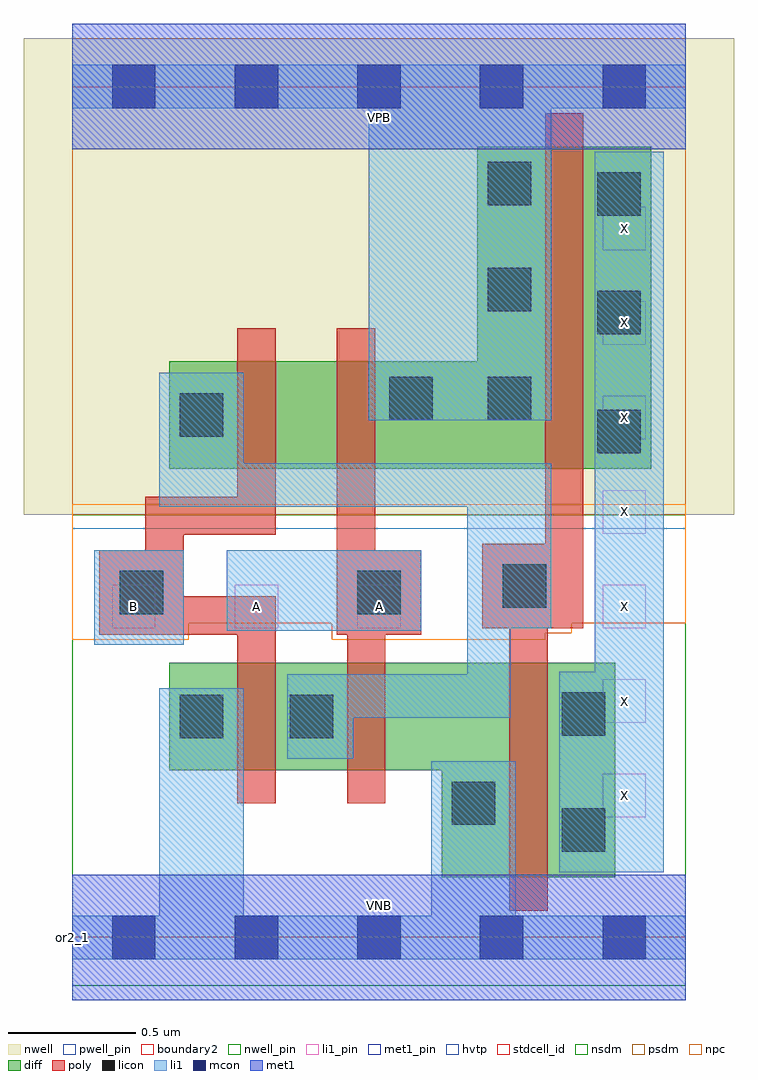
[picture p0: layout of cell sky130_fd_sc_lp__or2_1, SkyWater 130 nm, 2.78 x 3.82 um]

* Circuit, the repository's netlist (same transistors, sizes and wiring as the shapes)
* Copyright 2020 The SkyWater PDK Authors
*
* Licensed under the Apache License, Version 2.0 (the "License");
* you may not use this file except in compliance with the License.
* You may obtain a copy of the License at
*
*     https://www.apache.org/licenses/LICENSE-2.0
*
* Unless required by applicable law or agreed to in writing, software
* distributed under the License is distributed on an "AS IS" BASIS,
* WITHOUT WARRANTIES OR CONDITIONS OF ANY KIND, either express or implied.
* See the License for the specific language governing permissions and
* limitations under the License.
*
* SPDX-License-Identifier: Apache-2.0

.SUBCKT sky130_fd_sc_lp__or2_1 A B VGND VNB VPB VPWR X
*.PININFO A:I B:I VGND:I VNB:I VPB:I VPWR:I X:O
MMP0 VPWR A sndPA VPB sky130_fd_pr__pfet_01v8_hvt m=1 w=0.42U l=0.15U mult=1 sa=0.265
+ sb=0.265 sd=0.28 area=0.063 perim=1.14
MMP1 sndPA B y VPB sky130_fd_pr__pfet_01v8_hvt m=1 w=0.42U l=0.15U mult=1 sa=0.265
+ sb=0.265 sd=0.28 area=0.063 perim=1.14
MMIP2 X y VPWR VPB sky130_fd_pr__pfet_01v8_hvt m=1 w=1.26U l=0.15U mult=1 sa=0.265
+ sb=0.265 sd=0.28 area=0.063 perim=1.14
MMN0 y A VGND VNB sky130_fd_pr__nfet_01v8 m=1 w=0.42U l=0.15U mult=1 sa=0.265 sb=0.265
+ sd=0.28 area=0.063 perim=1.14
MMN1 y B VGND VNB sky130_fd_pr__nfet_01v8 m=1 w=0.42U l=0.15U mult=1 sa=0.265 sb=0.265
+ sd=0.28 area=0.063 perim=1.14
MMIN2 X y VGND VNB sky130_fd_pr__nfet_01v8 m=1 w=0.84U l=0.15U mult=1 sa=0.265
+ sb=0.265 sd=0.28 area=0.063 perim=1.14
.ENDS sky130_fd_sc_lp__or2_1

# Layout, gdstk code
import gdstk
lib = gdstk.Library(unit=1e-6, precision=1e-09)
def R(c, l, rs):  # rectangles x0, y0, x1, y1
    for r in rs: c.add(gdstk.rectangle(r[:2], r[2:], *l))
def A(c, l, x, y, w, h, nx, ny, dx, dy):  # array of equal rectangles
    R(c, l, [(x+i*dx, y+j*dy, x+i*dx+w, y+j*dy+h) for i in range(nx) for j in range(ny)])
def P(c, l, *ps):  # polygons
    for p in ps: c.add(gdstk.Polygon(p, *l))
nwell_pin = (64, 16)
nwell = (64, 20)
diff = (65, 20)
poly = (66, 20)
licon = (66, 44)
li1_pin = (67, 16)
li1 = (67, 20)
mcon = (67, 44)
met1_pin = (68, 16)
met1 = (68, 20)
hvtp = (78, 44)
stdcell_id = (81, 4)
nsdm = (93, 44)
psdm = (94, 20)
npc = (95, 20)
pwell_pin = (122, 16)
boundary2 = (236, 0)

sky130_fd_sc_lp__or2_1 = lib.new_cell('sky130_fd_sc_lp__or2_1')
R(sky130_fd_sc_lp__or2_1, nwell_pin, [(0,3.085,2.4,3.33)])
R(sky130_fd_sc_lp__or2_1, nwell, [(-0.19,1.655,2.59,3.52)])
P(sky130_fd_sc_lp__or2_1, diff, [(2.125,1.075),(0.38,1.075),(0.38,0.655),(1.445,0.655),(1.445,0.235),(2.125,0.235)],
  [(2.265,3.095),(1.585,3.095),(1.585,2.255),(0.38,2.255),(0.38,1.835),(2.265,1.835)])
P(sky130_fd_sc_lp__or2_1, poly, [(0.795,1.335),(0.435,1.335),(0.435,1.575),(0.795,1.575),(0.795,2.385),(0.645,2.385),(0.645,1.725),(0.285,1.725),(0.285,1.515),(0.105,1.515),(0.105,1.185),(0.645,1.185),(0.645,0.525),(0.795,0.525)],
  [(1.365,1.515),(1.185,1.515),(1.185,2.385),(1.035,2.385),(1.035,1.185),(1.075,1.185),(1.075,0.525),(1.225,0.525),(1.225,1.185),(1.365,1.185)],
  [(2,3.225),(1.85,3.225),(1.85,1.54),(1.605,1.54),(1.605,1.21),(1.71,1.21),(1.71,0.105),(1.86,0.105),(1.86,1.21),(2,1.21)])
A(sky130_fd_sc_lp__or2_1, licon, 2.055, 1.895, 0.17, 0.17, 1, 3, 0, 0.465)
R(sky130_fd_sc_lp__or2_1, licon, [(1.915,0.335,2.085,0.505), (1.485,0.44,1.655,0.61), (0.42,0.78,0.59,0.95), (0.85,0.78,1.02,0.95), (1.915,0.79,2.085,0.96), (0.185,1.265,0.355,1.435), (1.115,1.265,1.285,1.435), (1.685,1.29,1.855,1.46), (0.42,1.96,0.59,2.13), (1.24,2.025,1.41,2.195), (1.625,2.025,1.795,2.195), (1.625,2.45,1.795,2.62), (1.625,2.865,1.795,3.035)])
A(sky130_fd_sc_lp__or2_1, li1_pin, 2.075, 0.47, 0.17, 0.17, 1, 7, 0, 0.37)
A(sky130_fd_sc_lp__or2_1, li1_pin, 0.155, 1.21, 0.17, 0.17, 3, 1, 0.48, 0)
R(sky130_fd_sc_lp__or2_1, li1, [(0.085,1.145,0.435,1.515), (0.605,1.2,1.365,1.515)])
P(sky130_fd_sc_lp__or2_1, li1, [(1.875,1.855),(0.67,1.855),(0.67,2.21),(0.34,2.21),(0.34,1.685),(1.545,1.685),(1.545,1.03),(0.84,1.03),(0.84,0.7),(1.1,0.7),(1.1,0.86),(1.715,0.86),(1.715,1.21),(1.875,1.21)],
  [(2.4,0.085),(1.735,0.085),(1.735,0.69),(1.405,0.69),(1.405,0.085),(0.67,0.085),(0.67,0.975),(0.34,0.975),(0.34,0.085),(0,0.085),(0,-0.085),(2.4,-0.085)],
  [(2.315,3.075),(2.045,3.075),(2.045,1.04),(1.905,1.04),(1.905,0.255),(2.315,0.255)],
  [(2.4,3.415),(0,3.415),(0,3.245),(1.16,3.245),(1.16,2.025),(1.875,2.025),(1.875,3.245),(2.4,3.245)])
A(sky130_fd_sc_lp__or2_1, mcon, 0.155, -0.085, 0.17, 0.17, 5, 2, 0.48, 3.33)
R(sky130_fd_sc_lp__or2_1, met1_pin, [(0,0,2.4,0.245), (0,3.085,2.4,3.33)])
R(sky130_fd_sc_lp__or2_1, met1, [(0,-0.245,2.4,0.245), (0,3.085,2.4,3.575)])
R(sky130_fd_sc_lp__or2_1, hvtp, [(0,1.6,2.4,3.33)])
R(sky130_fd_sc_lp__or2_1, stdcell_id, [(0,0,2.4,3.33)])
R(sky130_fd_sc_lp__or2_1, nsdm, [(0,-0.19,2.4,1.655)])
R(sky130_fd_sc_lp__or2_1, psdm, [(0,1.655,2.4,3.52)])
P(sky130_fd_sc_lp__or2_1, npc, [(2.4,1.695),(0,1.695),(0,1.165),(0.455,1.165),(0.455,1.23),(1.015,1.23),(1.015,1.165),(1.85,1.165),(1.85,1.19),(1.955,1.19),(1.955,1.23),(2.4,1.23)])
R(sky130_fd_sc_lp__or2_1, pwell_pin, [(0,0,2.4,0.245)])
R(sky130_fd_sc_lp__or2_1, boundary2, [(0,0,2.4,3.33)])
sky130_fd_sc_lp__or2_1.add(gdstk.Label('VNB', (1.2,0.123), layer=64, texttype=59))
sky130_fd_sc_lp__or2_1.add(gdstk.Label('VPB', (1.2,3.208), layer=64, texttype=5))
sky130_fd_sc_lp__or2_1.add(gdstk.Label('or2_1', (0,0), layer=83, texttype=44))
sky130_fd_sc_lp__or2_1.add(gdstk.Label('VPWR', (1.2,3.208), layer=68, texttype=5))
sky130_fd_sc_lp__or2_1.add(gdstk.Label('VGND', (1.2,0.123), layer=68, texttype=5))
sky130_fd_sc_lp__or2_1.add(gdstk.Label('A', (0.72,1.295), layer=67, texttype=5))
sky130_fd_sc_lp__or2_1.add(gdstk.Label('A', (1.2,1.295), layer=67, texttype=5))
sky130_fd_sc_lp__or2_1.add(gdstk.Label('X', (2.16,0.555), layer=67, texttype=5))
sky130_fd_sc_lp__or2_1.add(gdstk.Label('X', (2.16,0.925), layer=67, texttype=5))
sky130_fd_sc_lp__or2_1.add(gdstk.Label('X', (2.16,1.295), layer=67, texttype=5))
sky130_fd_sc_lp__or2_1.add(gdstk.Label('X', (2.16,1.665), layer=67, texttype=5))
sky130_fd_sc_lp__or2_1.add(gdstk.Label('X', (2.16,2.035), layer=67, texttype=5))
sky130_fd_sc_lp__or2_1.add(gdstk.Label('X', (2.16,2.405), layer=67, texttype=5))
sky130_fd_sc_lp__or2_1.add(gdstk.Label('X', (2.16,2.775), layer=67, texttype=5))
sky130_fd_sc_lp__or2_1.add(gdstk.Label('B', (0.24,1.295), layer=67, texttype=5))

lib.write_gds('sky130_fd_sc_lp__or2_1.gds')
